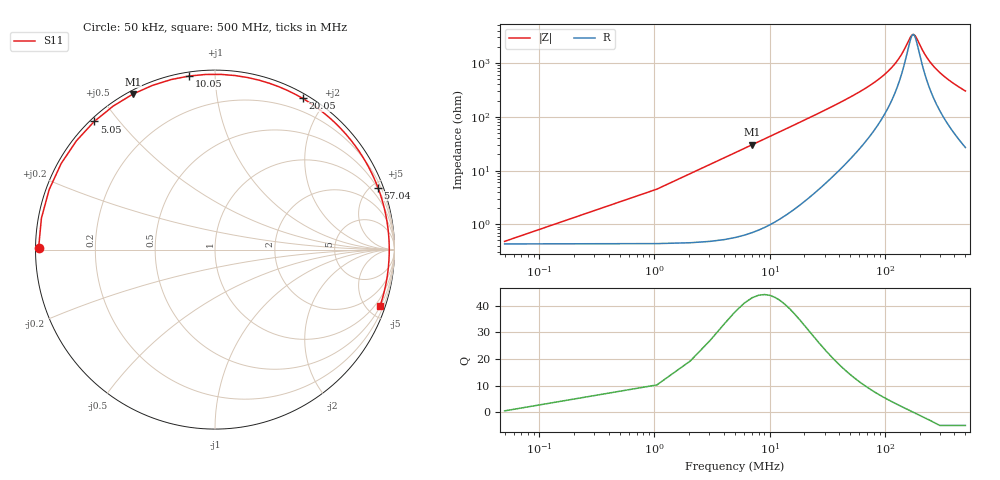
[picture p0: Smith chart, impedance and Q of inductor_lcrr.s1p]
!Created with skrf (http://scikit-rf.org).
# MHz S MA R 50.0
!freq magS11 angS11
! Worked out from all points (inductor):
!   501 points, 50 kHz to 500 MHz, reference 50 ohm
!   read as one part to ground: L = 680 nH near 2.05 MHz
!   highest Q = 42.3 at 7.049 MHz (marker M1), where L = 681 nH
!   self-resonance near 176.2 MHz
!   S11 on the Smith chart (normalised r, x): 50 kHz: 0.01, +0.00; 5.05 MHz: 0.01, +0.43; 10.05 MHz: 0.02, +0.86; 20.05 MHz: 0.05, +1.73; 57.04 MHz: 0.44, +5.41; 500 MHz: 0.54, -6.01
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0.05  0.9829 179.5
1.0499  0.9828 169.7
2.0498  0.9825 160.1
3.0497  0.9821 150.8
4.0496  0.9816 141.8
5.0495  0.981 133.3
6.0494  0.9804 125.3
7.0493  0.9797 117.8
8.0492  0.979 110.9
10.049  0.9778 98.5
12.0488  0.9767 88.1
15.0485  0.9753 75.3
17.0483  0.9747 68.4
20.048  0.9739 59.9
23.0477  0.9733 53.1
26.0474  0.9728 47.5
33.0467  0.9721 37.7
43.0457  0.9716 28.7
57.0443  0.9713 20.8
63.0437  0.9712 18.4
89.0411  0.971 11.2
125.0375  0.9709 5.3
188.0312  0.971 -1.0
250.025  0.971 -5.4
313.0187  0.9712 -9.2
375.0125  0.9713 -12.6
438.0062  0.9715 -15.8
500  0.9718 -18.8
